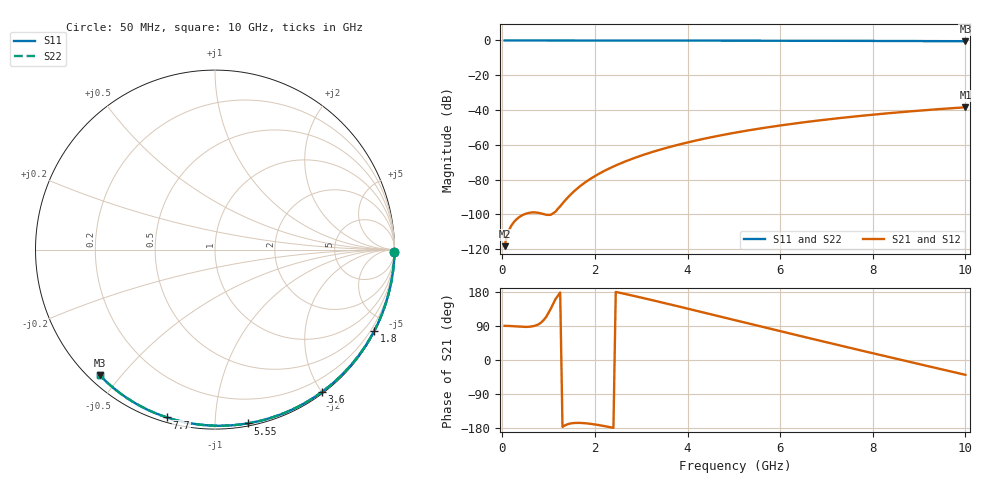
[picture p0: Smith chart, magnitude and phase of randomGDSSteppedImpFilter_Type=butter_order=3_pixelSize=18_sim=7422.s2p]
! freq	dB(S11)	phase(S11)	dB(S12)	phase(S12)
!  dB(S21)	phase(S21)	dB(S22)	phase(S22)
!S-par simulation data
#  GHz  S  DB  R 50
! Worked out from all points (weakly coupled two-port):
!   200 points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, 50 MHz to 10 GHz, reference 50 ohm
!   highest |S21| = -38.40 dB at 10 GHz (marker M1); lowest = -118.2 dB at 50 MHz (marker M2)
!   lowest |S11| = -0.4 dB at 10 GHz (marker M3), VSWR 38.69, Z = 1.54 - j21.9 ohm
!   |S11| at or under -10 dB: nowhere
!   |S22| runs from -0.4 to 0.0 dB; largest |S21 - S12| = 0
!   S11 on the Smith chart (normalised r, x): 50 MHz: open; 1.8 GHz: 0.04, -4.13; 3.6 GHz: 0.02, -2.00; 5.55 GHz: 0.02, -1.20; 7.7 GHz: 0.02, -0.75; 10 GHz: 0.03, -0.44
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0.05  -0.00 -0.8  -118.24 90.1  -118.24 90.1  -0.00 -0.8
0.9  -0.02 -13.7  -99.87 106.4  -99.87 106.4  -0.02 -13.7
1.75  -0.03 -26.4  -82.34 -166.5  -82.34 -166.5  -0.03 -26.4
1.8  -0.03 -27.2  -81.38 -167.0  -81.38 -167.0  -0.03 -27.2
1.85  -0.04 -27.9  -80.47 -167.6  -80.47 -167.6  -0.04 -27.9
1.9  -0.04 -28.7  -79.60 -168.4  -79.60 -168.4  -0.04 -28.7
2.05  -0.04 -30.9  -77.18 -171.1  -77.18 -171.1  -0.04 -30.9
2.25  -0.04 -33.8  -74.34 -175.5  -74.34 -175.5  -0.04 -33.8
2.45  -0.05 -36.7  -71.84 179.6  -71.84 179.6  -0.05 -36.7
2.65  -0.05 -39.6  -69.60 174.4  -69.60 174.4  -0.05 -39.6
3  -0.06 -44.7  -66.17 164.7  -66.17 164.7  -0.06 -44.7
3.4  -0.07 -50.3  -62.82 153.2  -62.82 153.2  -0.07 -50.3
3.6  -0.07 -53.2  -61.33 147.4  -61.33 147.4  -0.07 -53.2
4.3  -0.09 -62.8  -56.81 126.7  -56.81 126.7  -0.09 -62.8
5.05  -0.11 -72.9  -52.89 104.4  -52.89 104.4  -0.11 -72.9
5.55  -0.13 -79.4  -50.67 89.5  -50.67 89.5  -0.13 -79.4
6.1  -0.15 -86.4  -48.50 73.2  -48.50 73.2  -0.15 -86.4
6.7  -0.18 -93.9  -46.41 55.6  -46.41 55.6  -0.18 -93.9
7.7  -0.24 -106.0  -43.45 26.5  -43.45 26.5  -0.24 -106.0
8.35  -0.29 -113.7  -41.81 7.8  -41.81 7.8  -0.29 -113.7
9.15  -0.36 -122.9  -40.03 -15.0  -40.03 -15.0  -0.36 -122.9
10  -0.45 -132.7  -38.40 -39.1  -38.40 -39.1  -0.45 -132.7
